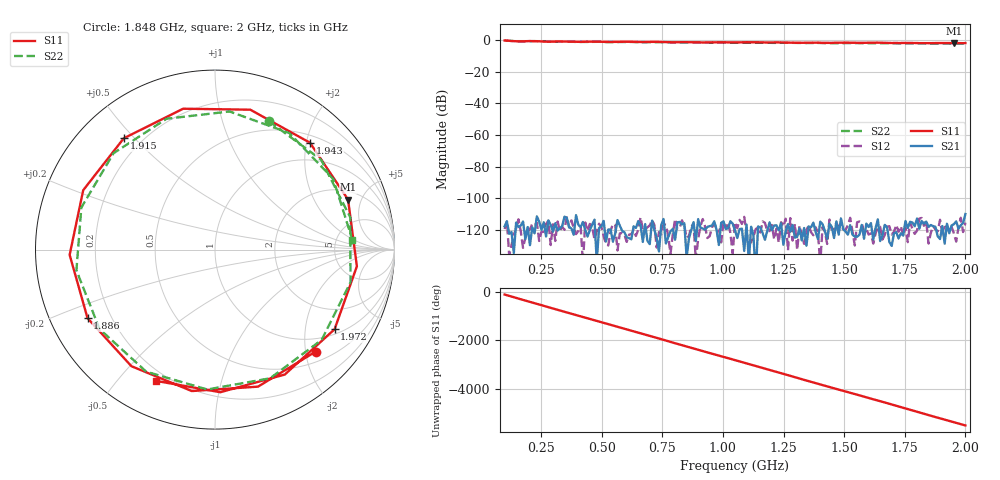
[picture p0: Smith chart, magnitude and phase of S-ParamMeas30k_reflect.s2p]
!Keysight Technologies,N5242B,MY48420967,A.15.65.19
!Date: Friday, December 16, 2022 19:51:13
!Correction: S11(C  2-Port  )
!S21(C  2-Port  )
!S12(C  2-Port  )
!S22(C  2-Port  )
!S2P File: Measurements: S11, S21, S12, S22:
# Hz S  dB  R 50
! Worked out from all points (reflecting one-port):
!   201 points, 100 MHz to 2 GHz, reference 50 ohm
!   lowest |S11| = -2.0 dB at 1.952 GHz (marker M1), VSWR 8.62, Z = 129 + j193 ohm
!   phase of S11 starts at -101 deg and turns -5413 deg over the sweep
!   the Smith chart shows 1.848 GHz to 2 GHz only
!   S11 on the Smith chart (normalised r, x): 1.848 GHz: 0.70, -2.20; 1.886 GHz: 0.11, -0.25; 1.915 GHz: 0.13, +0.47; 1.943 GHz: 0.63, +2.07; 1.972 GHz: 1.17, -2.88; 2 GHz: 0.15, -0.63
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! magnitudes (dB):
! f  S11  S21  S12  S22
! 100 MHz  -0.3  -117.7  -119.4  -0.3
! 157 MHz  -0.8  -118.2  -113.2  -0.8
! 223.5 MHz  -0.7  -122.1  -116.9  -0.7
! 290 MHz  -1.0  -116.7  -129.6  -1.1
! 347 MHz  -0.9  -111.6  -119.9  -0.9
! 423 MHz  -1.1  -115.0  -140.8  -1.2
! 736.5 MHz  -1.2  -133.7  -121.4  -1.3
! 784 MHz  -1.4  -120.9  -135.1  -1.5
! 841 MHz  -1.3  -115.8  -117.2  -1.5
! 907.5 MHz  -1.5  -118.6  -117.6  -1.6
! 1.05 GHz  -1.5  -120.3  -115.1  -1.7
! 1.107 GHz  -1.4  -139.7  -128.3  -1.6
! 1.373 GHz  -1.7  -115.4  -123.4  -1.8
! 1.639 GHz  -1.6  -113.3  -118.0  -2.0
! 1.687 GHz  -1.9  -127.6  -117.7  -2.0
! 1.848 GHz  -2.0  -118.1  -128.6  -2.2
! 1.886 GHz  -1.9  -124.1  -120.9  -2.2
! 1.915 GHz  -1.9  -128.7  -118.2  -2.2
! 1.943 GHz  -2.0  -117.2  -118.0  -2.2
! 1.952 GHz  -2.0  -116.4  -122.1  -2.2
! 1.972 GHz  -1.9  -119.2  -118.4  -2.2
! 2 GHz  -1.9  -109.9  -115.4  -2.3
